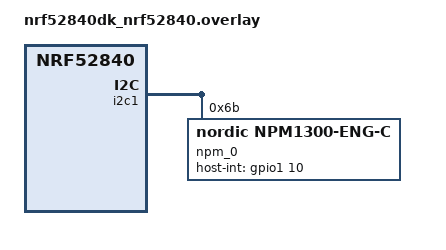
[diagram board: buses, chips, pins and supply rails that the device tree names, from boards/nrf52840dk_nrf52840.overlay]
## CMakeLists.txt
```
#
# Copyright (c) 2023 Nordic Semiconductor ASA
#
# SPDX-License-Identifier: BSD-3-Clause
#

cmake_minimum_required(VERSION 3.20.0)
find_package(Zephyr REQUIRED HINTS $ENV{ZEPHYR_BASE})
project(pmic_ldo)

FILE(GLOB app_sources src/*.c)
target_sources(app PRIVATE ${app_sources})
```

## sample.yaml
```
#
# Copyright (c) 2023 Nordic Semiconductor ASA
#
# SPDX-License-Identifier: BSD-3-Clause
#

sample:
  description: LDO sample
  name: LDO

common:
    integration_platforms:
      - nrf5340dk/nrf5340/cpuapp
      - nrf52840dk/nrf52840
    platform_allow:
      - nrf5340dk/nrf5340/cpuapp
      - nrf52840dk/nrf52840
    tags: pmic
    timeout: 60

tests:
  sample.ldo.output_voltage:
    harness: console
    harness_config:
      fixture: nPM130x_setup
      type: multi_line
      ordered: true
      regex:
        -  "PMIC device OK."
        -  "Voltage LDO1:"
        -  "Voltage LDO2:"
        -  "Test output voltage OK."
```

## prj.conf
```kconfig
#
# Copyright (c) 2023 Nordic Semiconductor ASA
#
# SPDX-License-Identifier: BSD-3-Clause
#

CONFIG_SERIAL=y
CONFIG_CONSOLE=y
CONFIG_UART_CONSOLE=y

CONFIG_I2C=y
CONFIG_NPMX=y
CONFIG_NPMX_DEVICE_NPM1300_ENG_C=y
CONFIG_LOG=y
CONFIG_NPMX_LOG_LEVEL_DBG=y
CONFIG_SHELL=y
CONFIG_ASSERT=y

# Core Dump configuraion
CONFIG_DEBUG_COREDUMP=y
CONFIG_DEBUG_COREDUMP_BACKEND_LOGGING=y
```

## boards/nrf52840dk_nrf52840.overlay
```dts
/*
 * Copyright (c) 2023 Nordic Semiconductor ASA
 *
 * SPDX-License-Identifier: BSD-3-Clause
 */

&i2c1 {
	compatible = "nordic,nrf-twim";
	status = "okay";

	npm_0: npm1300@6b {
		status = "okay";
		compatible = "nordic,npm1300-eng-c";
		reg = <0x6b>;
		host-int-gpios = <&gpio1 10 (GPIO_PULL_DOWN | GPIO_ACTIVE_HIGH)>;
		pmic-int-pin = <0>;
	};
};

&i2c1_default {
	group1 {
		psels = <NRF_PSEL(TWIM_SDA, 0, 26)>, <NRF_PSEL(TWIM_SCL, 0, 27)>;
		bias-pull-up;
	};
};
```

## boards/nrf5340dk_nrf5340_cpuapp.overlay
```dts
/*
 * Copyright (c) 2023 Nordic Semiconductor ASA
 *
 * SPDX-License-Identifier: BSD-3-Clause
 */

&i2c1 {
	compatible = "nordic,nrf-twim";
	status = "okay";

	npm_0: npm1300@6b {
		status = "okay";
		compatible = "nordic,npm1300-eng-c";
		reg = <0x6b>;
		host-int-gpios = <&gpio1 10 (GPIO_PULL_DOWN | GPIO_ACTIVE_HIGH)>;
		pmic-int-pin = <0>;
	};
};

&i2c1_default {
	group1 {
		bias-pull-up;
	};
};
```

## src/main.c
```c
/*
 * Copyright (c) 2023 Nordic Semiconductor ASA
 *
 * SPDX-License-Identifier: BSD-3-Clause
 */

#include <zephyr/logging/log.h>
#include <zephyr/kernel.h>
#include <npmx_buck.h>
#include <npmx_driver.h>
#include <npmx_ldsw.h>

#define LOG_MODULE_NAME ldo
LOG_MODULE_REGISTER(LOG_MODULE_NAME);

/**
 * @brief Function for reading and logging selected voltage from the specified LDO instance.
 *        This function does not read the actual output voltage of the LDO.
 *
 * @param[in] p_ldsw Pointer to the instance of the LDO.
 */
static void get_and_log_voltage(npmx_ldsw_t *p_ldsw)
{
	npmx_ldsw_voltage_t ldsw_voltage;
	uint32_t voltage_mv;

	if (npmx_ldsw_ldo_voltage_get(p_ldsw, &ldsw_voltage) != NPMX_SUCCESS) {
		LOG_ERR("Unable to get voltage status.");
	}

	if (npmx_ldsw_voltage_convert_to_mv(ldsw_voltage, &voltage_mv)) {
		LOG_INF("Voltage LDO%d: %d mV.", (p_ldsw->hw_index + 1), voltage_mv);
	} else {
		LOG_ERR("Unable to convert voltage value to mV.");
	}
}

/**
 * @brief Function for testing LDO voltage range,
 *        from start_voltage to stop_voltage with 100 mV step every 100 miliseconds.
 *
 * @param[in] p_ldsw        Pointer to the instance of the LDO.
 * @param[in] start_voltage Start test voltage level.
 */
static void verify_ldsw_voltage(npmx_ldsw_t *p_ldsw, npmx_ldsw_voltage_t start_voltage,
				npmx_ldsw_voltage_t stop_voltage)
{
	for (uint8_t i = (uint32_t)start_voltage; i <= (uint32_t)stop_voltage; i++) {
		/* Set the expected output voltage. */
		npmx_ldsw_ldo_voltage_set(p_ldsw, (npmx_ldsw_voltage_t)i);

		/* Check in nPM device which voltage is selected. */
		get_and_log_voltage(p_ldsw);

		/* Wait some time for the output voltage to stabilize, and measure it. */
		k_msleep(100);
	}
}

int main(void)
{
	const struct device *pmic_dev = DEVICE_DT_GET(DT_NODELABEL(npm_0));

	if (!device_is_ready(pmic_dev)) {
		LOG_INF("PMIC device is not ready.");
		return 0;
	}

	LOG_INF("PMIC device OK.");

	/* Get the pointer to npmx device. */
	npmx_instance_t *npmx_instance = npmx_driver_instance_get(pmic_dev);

	npmx_buck_t *buck = npmx_buck_get(npmx_instance, 0);

	/* Set the output voltage of BUCK1. */
	npmx_buck_normal_voltage_set(buck, NPMX_BUCK_VOLTAGE_1V8);
	npmx_buck_vout_select_set(buck, NPMX_BUCK_VOUT_SELECT_SOFTWARE);

	/* Enable BUCK1. */
	npmx_buck_task_trigger(buck, NPMX_BUCK_TASK_ENABLE);

	npmx_ldsw_t *ldsw_1 = npmx_ldsw_get(npmx_instance, 0);
	npmx_ldsw_t *ldsw_2 = npmx_ldsw_get(npmx_instance, 1);

	/* Configure LDSWs to work as LDOs. */
	npmx_ldsw_mode_set(ldsw_1, NPMX_LDSW_MODE_LDO);
	npmx_ldsw_mode_set(ldsw_2, NPMX_LDSW_MODE_LDO);

	/* Enable active discharge to see changes on output pins. */
	npmx_ldsw_active_discharge_enable_set(ldsw_1, true);
	npmx_ldsw_active_discharge_enable_set(ldsw_2, true);

	/* Set the initial voltages for both LDOs. */
	npmx_ldsw_ldo_voltage_set(ldsw_1, NPMX_LDSW_VOLTAGE_1V0);
	npmx_ldsw_ldo_voltage_set(ldsw_2, NPMX_LDSW_VOLTAGE_1V0);

	if (npmx_ldsw_task_trigger(ldsw_1, NPMX_LDSW_TASK_ENABLE) != NPMX_SUCCESS) {
		LOG_ERR("Unable to enable LDO1.");
		return 0;
	}

	if (npmx_ldsw_task_trigger(ldsw_2, NPMX_LDSW_TASK_ENABLE) != NPMX_SUCCESS) {
		LOG_ERR("Unable to enable LDO2.");
		return 0;
	}

	/* Test voltage ranges for LDOs. */
	verify_ldsw_voltage(ldsw_1, NPMX_LDSW_VOLTAGE_1V0, NPMX_LDSW_VOLTAGE_1V7);
	verify_ldsw_voltage(ldsw_2, NPMX_LDSW_VOLTAGE_1V0, NPMX_LDSW_VOLTAGE_2V9);

	/* Go back to initial voltages. */
	npmx_ldsw_ldo_voltage_set(ldsw_1, NPMX_LDSW_VOLTAGE_1V0);
	npmx_ldsw_ldo_voltage_set(ldsw_2, NPMX_LDSW_VOLTAGE_1V0);

	LOG_INF("Test output voltage OK.");

	while (1) {
		k_sleep(K_FOREVER);
	}

	return 0;
}
```
